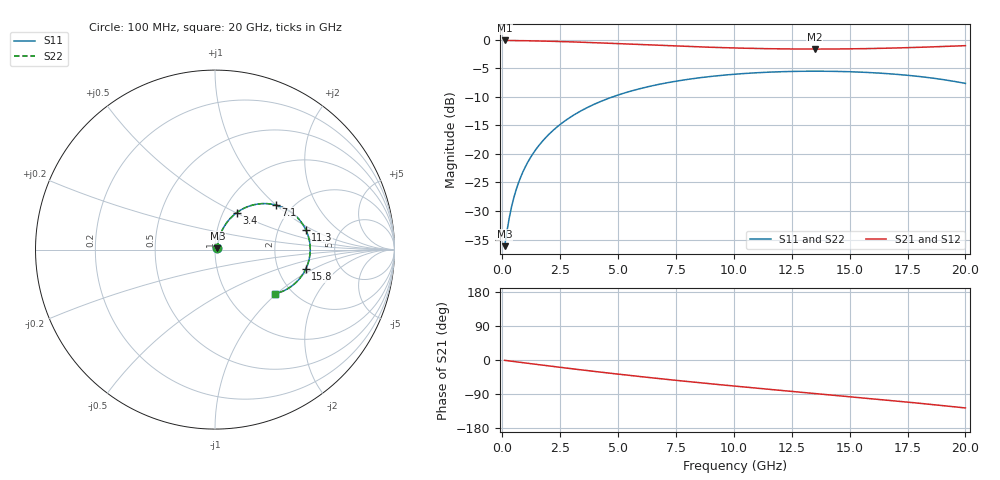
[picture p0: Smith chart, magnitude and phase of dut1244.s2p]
! Touchstone file exported from HFSS 2026.1.0
!  File:  C:/ffzhzh/LocalFiles/Ansys_Project_Files/temp_train_TSV_RDL_1244_1783324612_38820.aedt
!  Generated:  04:08:10 PM Jul  6, 2026
!  Design:  TSV_RDL
!  Project:  temp_train_TSV_RDL_1244_1783324612_38820
! Variables:
!  h_bsmrdl = 2.01um
!  h_ox = 20um
!  h_rdl = 5um
!  h_sub = 90.95um
!  h_tmrdl = 5.1um
!  h_tsv = 90.95um
!  h_via = 3um
!  l_bsmrdl = 322.23um
!  l_sub = 1952.61um
!  l_tmrdl = 118.67um
!  m_sub = 200um
!  pitch = 58.01um
!  r_tsv = 12.44um
!  s_tmrdl = 10um
!  w_bsmrdl = 15.96um
!  w_sub = 500um
!  w_tmrdl = 21.12um
!  x_tsv_center1 = 129.23um
!  x_tsv_center2 = 467.42um
!  x_tsv_center3 = 607.21um
!  x_tsv_center4 = 945.4um
!  x_tsv_center5 = 1085.19um
!  x_tsv_center6 = 1423.38um
# GHz S MA R 50.000000
! Terminal data exported
! Port[1] = TM_RDL1_1_T1
! Port[2] = TM_RDL5_1_T1
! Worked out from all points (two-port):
!   200 points, 100 MHz to 20 GHz, reference 50 ohm
!   highest |S21| = -0.12 dB at 100 MHz (marker M1); lowest = -1.6 dB at 13.5 GHz (marker M2)
!   |S21| within 3 dB of the highest: start of sweep to end of sweep
!   lowest |S11| = -36.2 dB at 100 MHz (marker M3), VSWR 1.03, Z = 51.4 + j0.803 ohm
!   |S11| at or under -10 dB: start of sweep to 4.769 GHz
!   |S22| runs from -36.2 to -5.5 dB; largest |S21 - S12| = 1.3e-12
!   S11 on the Smith chart (normalised r, x): 100 MHz: 1.03, +0.02; 3.4 GHz: 1.16, +0.50; 7.1 GHz: 1.65, +0.99; 11.3 GHz: 2.86, +0.86; 15.8 GHz: 2.86, -0.85; 20 GHz: 1.64, -0.98
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0.1  0.01554 30.2  0.9866 -0.8  0.9866 -0.8  0.01554 30.2
! Gamma 0 0 0 0
! Port Impedance 50 0 50 0
0.3  0.02745 57.2  0.9858 -2.4  0.9858 -2.4  0.02745 57.2
0.5  0.04149 65.5  0.9848 -4.0  0.9848 -4.0  0.04149 65.5
0.8  0.06302 69.6  0.9828 -6.4  0.9828 -6.4  0.06302 69.6
1.1  0.08453 70.4  0.9806 -8.7  0.9806 -8.7  0.08453 70.4
1.6  0.1199 69.4  0.9761 -12.5  0.9761 -12.5  0.1199 69.4
2.1  0.1544 67.2  0.9707 -16.3  0.9707 -16.3  0.1544 67.2
2.7  0.1943 63.8  0.963 -20.8  0.963 -20.8  0.1943 63.8
3.4  0.2385 59.6  0.9527 -26.0  0.9527 -26.0  0.2385 59.6
3.5  0.2446 58.9  0.9511 -26.7  0.9511 -26.7  0.2446 58.9
5  0.3281 49.4  0.9254 -37.3  0.9254 -37.3  0.3281 49.4
6.8  0.4083 38.1  0.8935 -49.2  0.8935 -49.2  0.4083 38.1
7.1  0.4195 36.3  0.8884 -51.2  0.8884 -51.2  0.4195 36.3
8.5  0.4642 28.0  0.8666 -59.8  0.8666 -59.8  0.4642 28.0
10.1  0.5005 18.9  0.847 -69.2  0.847 -69.2  0.5005 18.9
11.3  0.5181 12.3  0.8368 -76.1  0.8368 -76.1  0.5181 12.3
13.4  0.5307 0.9  0.8293 -87.8  0.8293 -87.8  0.5307 0.9
13.5  0.5307 0.3  0.8293 -88.4  0.8293 -88.4  0.5307 0.3
15.8  0.5171 -12.2  0.8373 -101.3  0.8373 -101.3  0.5171 -12.2
16.7  0.504 -17.2  0.8447 -106.4  0.8447 -106.4  0.504 -17.1
18.4  0.4666 -26.9  0.8644 -116.5  0.8644 -116.5  0.4666 -26.9
20  0.4147 -36.5  0.8883 -126.6  0.8883 -126.6  0.4147 -36.4
